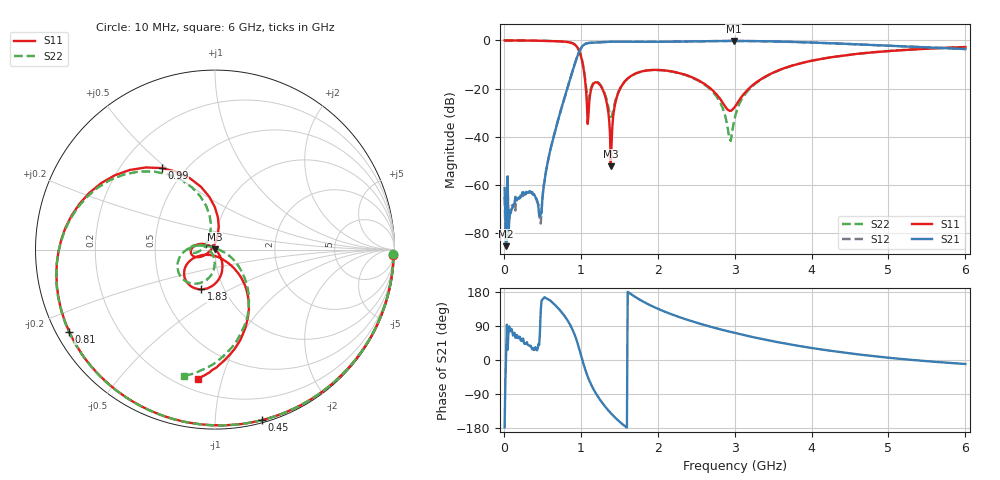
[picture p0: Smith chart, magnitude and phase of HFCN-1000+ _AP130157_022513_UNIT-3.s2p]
!Mini-Circuits Laboratory
!S-Parameters
!Model:HFCN-1000+
!Run/Lot/Date Code: CS0100//N/A
!DATA FOR: UNIT# 3
!Fixture/SN/Due: N/A
!Connection: PORT-1 - pin<1>; PORT-2 - pin<3>
!PORT EXTENSION IS DONE ON TEST BOARD(TB-270)
!Created: 02-25-2013 at 10:37 AM
# MHZ S DB R 50
!Frequency  S11 dB  S11 DEG  S21 dB  S21 DEG  S12 dB  S12 DEG  S22 dB  S22 DEG
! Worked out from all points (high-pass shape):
!   600 points, 10 MHz to 6 GHz, reference 50 ohm
!   highest |S21| = -0.24 dB at 2.99 GHz (marker M1); lowest = -85.3 dB at 30 MHz (marker M2)
!   |S21| within 3 dB of the highest: 1.003 GHz to 5.739 GHz (4.735 GHz wide, 140 % of centre)
!   lowest |S11| = -52.3 dB at 1.39 GHz (marker M3), VSWR 1.00, Z = 49.9 + j0.217 ohm
!   |S11| at or under -10 dB: 1.027 GHz to 3.798 GHz (2.771 GHz wide, 115 % of centre)
!   |S22| runs from -41.7 to 0.0 dB; largest |S21 - S12| = 0.0013
!   S11 on the Smith chart (normalised r, x): 10 MHz: 15, -69; 450 MHz: 0.02, -1.31; 810 MHz: 0.04, -0.26; 990 MHz: 0.37, +0.48; 1.83 GHz: 0.78, -0.37; 6 GHz: 0.27, -0.84
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10  -0.05 -1.6  -61.25 -177.6  -65.01 143.4  -0.05 -1.6
30  -0.04 -4.9  -85.33 22.8  -83.67 165.3  -0.05 -4.9
310  -0.07 -50.9  -62.96 40.1  -62.94 43.7  -0.07 -51.0
450  -0.13 -74.7  -69.37 42.8  -68.01 37.2  -0.13 -75.1
810  -0.61 -150.7  -21.53 110.2  -21.52 110.1  -0.59 -150.6
990  -5.30 123.2  -3.99 22.4  -3.98 22.4  -5.17 128.0
1010  -7.51 109.4  -2.88 7.8  -2.89 7.8  -7.31 115.8
1090  -34.64 122.4  -1.15 -43.6  -1.16 -43.6  -24.54 136.6
1160  -18.22 -161.6  -0.94 -74.9  -0.95 -74.9  -17.83 -172.6
1300  -21.52 157.5  -0.68 -118.5  -0.68 -118.5  -21.09 162.5
1390  -52.28 116.8  -0.57 -140.2  -0.57 -140.2  -31.80 -152.8
1520  -19.52 -67.0  -0.53 -165.6  -0.53 -165.6  -19.40 -92.9
1830  -12.61 -108.8  -0.61 152.1  -0.61 152.0  -12.64 -126.9
2010  -12.27 -125.7  -0.59 134.5  -0.58 134.5  -12.30 -143.5
2600  -17.89 -158.5  -0.32 92.8  -0.32 92.8  -18.13 172.7
2930  -29.09 -110.8  -0.24 74.9  -0.24 74.9  -40.29 104.2
2990  -28.08 -78.1  -0.24 71.9  -0.24 71.9  -33.96 1.2
3010  -27.25 -69.1  -0.24 71.0  -0.24 70.9  -31.09 -6.2
3300  -16.99 -44.3  -0.32 57.7  -0.31 57.7  -17.24 -31.6
4010  -8.38 -60.3  -0.91 31.4  -0.91 31.4  -8.39 -60.6
5010  -4.42 -83.1  -2.23 5.8  -2.23 5.7  -4.40 -86.4
6000  -2.78 -97.7  -3.58 -10.4  -3.58 -10.5  -2.77 -103.8
